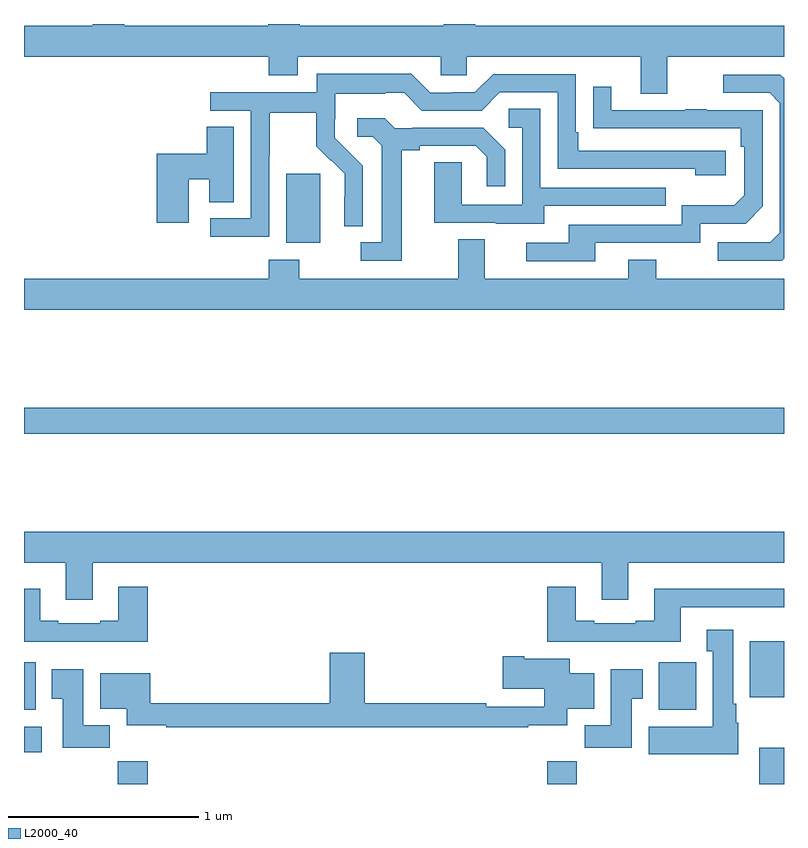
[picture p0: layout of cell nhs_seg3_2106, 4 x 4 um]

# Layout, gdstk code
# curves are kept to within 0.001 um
import gdstk
lib = gdstk.Library(unit=1e-6, precision=1e-09)
def R(c, l, rs):  # rectangles x0, y0, x1, y1
    for r in rs: c.add(gdstk.rectangle(r[:2], r[2:], *l))
def P(c, l, *ps):  # polygons
    for p in ps: c.add(gdstk.Polygon(p, *l))
L2000_40 = (2000, 40)

nhs_seg3_2106 = lib.new_cell('nhs_seg3_2106')
R(nhs_seg3_2106, L2000_40, [(219.493,718.4,219.65,718.52), (221.753,718.4,221.909,718.52), (222.869,718.4,223,718.591), (219,718.568,219.094,718.702), (219,718.79,219.061,719.04), (222.341,718.79,222.537,719.041), (222.821,718.856,223,719.152), (219,720.244,223,720.38), (220.379,721.25,220.558,721.611)])
P(nhs_seg3_2106, L2000_40, [(222.385,722.228),(223,722.228),(223,722.392),(221.375,722.392),(221.375,722.4),(221.21,722.4),(221.21,722.392),(220.451,722.392),(220.451,722.4),(220.286,722.4),(220.286,722.392),(219.527,722.392),(219.527,722.4),(219.362,722.4),(219.362,722.392),(219,722.392),(219,722.228),(220.289,722.228),(220.289,722.129),(220.441,722.129),(220.441,722.228),(221.193,722.228),(221.193,722.13),(221.331,722.13),(221.331,722.228),(222.245,722.228),(222.245,722.034),(222.385,722.034)],
  [(220.29,721.708),(220.293,721.708),(220.293,721.932),(220.537,721.932),(220.537,721.757),(220.614,721.68),(220.617,721.683),(220.688,721.613),(220.688,721.49),(220.686,721.49),(220.686,721.336),(220.782,721.336),(220.782,721.654),(220.636,721.802),(220.636,721.899),(220.638,721.899),(220.638,722.033),(220.901,722.033),(220.901,722.037),(221.001,722.037),(221.094,721.944),(221.409,721.944),(221.505,722.04),(221.808,722.04),(221.808,721.638),(222.533,721.638),(222.533,721.604),(222.694,721.604),(222.694,721.734),(221.917,721.734),(221.917,721.831),(221.904,721.831),(221.904,722.136),(221.469,722.136),(221.373,722.04),(221.255,722.04),(221.255,722.037),(221.139,722.037),(221.039,722.137),(220.542,722.137),(220.542,722.04),(219.981,722.04),(219.981,721.944),(220.194,721.944),(220.194,721.377),(219.981,721.377),(219.981,721.279),(220.29,721.279)],
  [(223,721.168),(223,722.114),(222.981,722.133),(222.681,722.133),(222.681,722.037),(222.924,722.037),(222.978,721.983),(222.978,721.302),(222.927,721.251),(222.651,721.251),(222.651,721.155),(222.987,721.155)],
  [(222.007,721.248),(222.558,721.248),(222.558,721.35),(222.798,721.35),(222.888,721.44),(222.888,721.947),(222.593,721.947),(222.593,721.952),(222.481,721.952),(222.481,721.947),(222.091,721.947),(222.091,722.071),(221.995,722.071),(221.995,721.852),(222.772,721.851),(222.772,721.754),(222.792,721.754),(222.792,721.5),(222.739,721.447),(222.462,721.447),(222.462,721.344),(221.867,721.344),(221.867,721.248),(221.643,721.248),(221.643,721.152),(222.007,721.152)],
  [(221.737,721.443),(222.377,721.443),(222.377,721.539),(221.718,721.539),(221.718,721.955),(221.55,721.955),(221.55,721.854),(221.622,721.854),(221.622,721.449),(221.304,721.449),(221.304,721.673),(221.159,721.673),(221.159,721.353),(221.483,721.353),(221.483,721.349),(221.737,721.349)],
  [(220.987,721.736),(221.083,721.736),(221.083,721.758),(221.378,721.758),(221.435,721.701),(221.435,721.545),(221.532,721.545),(221.532,721.738),(221.416,721.854),(221.044,721.854),(221.044,721.851),(220.95,721.851),(220.898,721.903),(220.755,721.903),(220.755,721.806),(220.836,721.806),(220.883,721.759),(220.883,721.251),(220.773,721.251),(220.773,721.155),(220.987,721.155)],
  [(219.868,721.583),(219.974,721.583),(219.974,721.462),(220.105,721.462),(220.105,721.859),(219.962,721.859),(219.962,721.718),(219.698,721.718),(219.698,721.353),(219.868,721.353)],
  [(223,721.06),(222.327,721.06),(222.327,721.159),(222.179,721.159),(222.179,721.06),(221.425,721.06),(221.425,721.268),(221.285,721.268),(221.285,721.06),(220.449,721.06),(220.449,721.159),(220.289,721.159),(220.289,721.06),(219,721.06),(219,720.896),(223,720.896)],
  [(219.361,719.564),(222.041,719.564),(222.041,719.37),(222.181,719.37),(222.181,719.564),(223,719.564),(223,719.728),(219,719.728),(219,719.564),(219.221,719.564),(219.221,719.37),(219.361,719.37)],
  [(219.65,719.437),(219.497,719.437),(219.497,719.26),(219.401,719.26),(219.401,719.247),(219.181,719.247),(219.181,719.26),(219.085,719.26),(219.085,719.428),(219,719.428),(219,719.15),(219.65,719.15)],
  [(222.457,719.331),(223,719.331),(223,719.428),(222.317,719.428),(222.317,719.26),(222.221,719.26),(222.221,719.247),(222.001,719.247),(222.001,719.26),(221.905,719.26),(221.905,719.437),(221.753,719.437),(221.753,719.15),(222.457,719.15)],
  [(222.76,718.722),(222.748,718.722),(222.748,718.822),(222.733,718.822),(222.733,719.212),(222.593,719.212),(222.593,719.099),(222.626,719.099),(222.626,718.702),(222.287,718.702),(222.287,718.556),(222.76,718.556)],
  [(221.654,718.709),(221.86,718.709),(221.86,718.796),(222.001,718.796),(222.001,718.984),(221.872,718.984),(221.872,719.059),(221.632,719.059),(221.632,719.072),(221.52,719.072),(221.52,718.901),(221.738,718.901),(221.738,718.806),(221.432,718.806),(221.432,718.826),(220.793,718.826),(220.793,719.092),(220.61,719.092),(220.61,718.826),(219.665,718.826),(219.665,718.984),(219.401,718.984),(219.401,718.796),(219.542,718.796),(219.542,718.709),(219.748,718.709),(219.748,718.698),(221.654,718.698)],
  [(219.452,718.708),(219.313,718.708),(219.313,719.005),(219.146,719.005),(219.146,718.849),(219.203,718.849),(219.203,718.59),(219.452,718.59)],
  [(222.199,718.849),(222.256,718.849),(222.256,719.005),(222.089,719.005),(222.089,718.708),(221.95,718.708),(221.95,718.59),(222.199,718.59)])

lib.write_gds('nhs_seg3_2106.gds')
